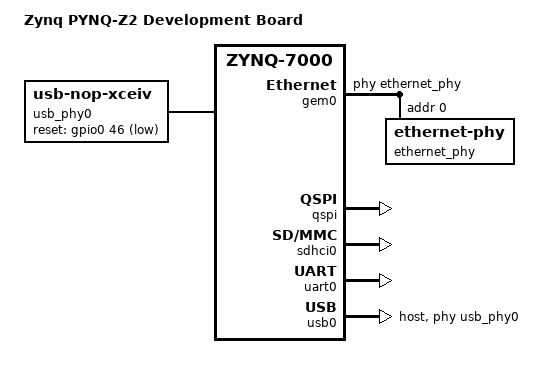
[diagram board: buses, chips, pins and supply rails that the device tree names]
/dts-v1/;

#include "system-top.dts"

/ {
	model = "Zynq PYNQ-Z2 Development Board";
	compatible = "digilent,zynq-artyz", "xlnx,zynq-7000";

	chosen {
		bootargs = "earlycon root=/dev/mmcblk0p2 rw rootfstype=ext4 rootwait";
		stdout-path = "serial0:115200n8";
	};

	aliases {
		ethernet0 = &gem0;
		serial0 = &uart0;
		spi0 = &qspi;
		mmc0 = &sdhci0;
	};

	usb_phy0: phy0 {
		compatible = "usb-nop-xceiv";
		#phy-cells = <0>;
		reset-gpios = <&gpio0 46 1>;
	};
};

&gem0 {
	u-boot,dm-pre-reloc;
	status = "okay";

	phy-handle = <&ethernet_phy>;

	ethernet_phy: ethernet-phy@0 {
		reg = <0>;
		device_type = "ethernet-phy";
	};
};

&qspi {
	u-boot,dm-pre-reloc;
	status = "okay";
};

&sdhci0 {
	u-boot,dm-pre-reloc;
	status = "okay";
};

&uart0 {
	u-boot,dm-pre-reloc;
	status = "okay";
};

&usb0 {
	status = "okay";
	dr_mode = "host";
	usb-phy = <&usb_phy0>;
};
